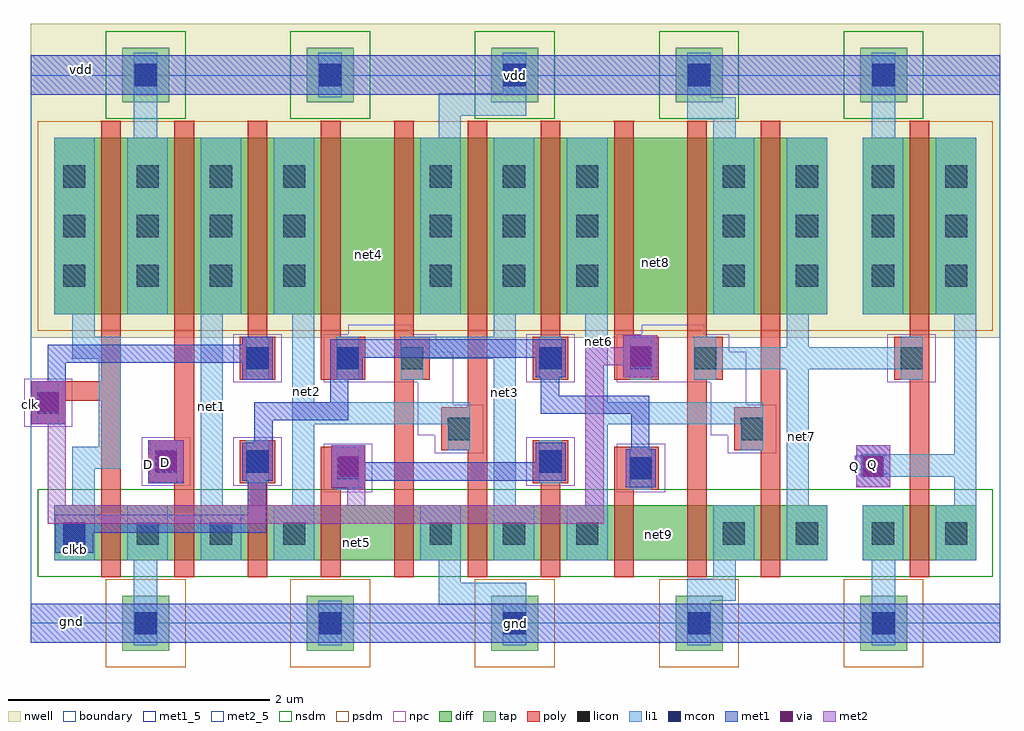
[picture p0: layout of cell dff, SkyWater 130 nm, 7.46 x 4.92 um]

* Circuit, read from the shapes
.subckt dff D Q clk clkb gnd net1 net2 net3 net4 net5 net6 net7 net8 net9 vdd
XM1 gnd clk clkb gnd sky130_fd_pr__nfet_01v8 w=0.42 l=0.15
XM2 net1 D gnd gnd sky130_fd_pr__nfet_01v8 w=0.42 l=0.15
XM3 net2 clkb net1 gnd sky130_fd_pr__nfet_01v8 w=0.42 l=0.15
XM4 net5 clk net2 gnd sky130_fd_pr__nfet_01v8 w=0.42 l=0.15
XM5 gnd net3 net5 gnd sky130_fd_pr__nfet_01v8 w=0.42 l=0.15
XM6 net3 net2 gnd gnd sky130_fd_pr__nfet_01v8 w=0.42 l=0.15
XM7 net6 clk net3 gnd sky130_fd_pr__nfet_01v8 w=0.42 l=0.15
XM8 net9 clkb net6 gnd sky130_fd_pr__nfet_01v8 w=0.42 l=0.15
XM9 gnd net7 net9 gnd sky130_fd_pr__nfet_01v8 w=0.42 l=0.15
XM10 net7 net6 gnd gnd sky130_fd_pr__nfet_01v8 w=0.42 l=0.15
XM11 Q net7 gnd gnd sky130_fd_pr__nfet_01v8 w=0.42 l=0.15
XM12 vdd clk clkb vdd sky130_fd_pr__pfet_01v8 w=1.35 l=0.15
XM13 net1 D vdd vdd sky130_fd_pr__pfet_01v8 w=1.35 l=0.15
XM14 net2 clk net1 vdd sky130_fd_pr__pfet_01v8 w=1.35 l=0.15
XM15 net4 clkb net2 vdd sky130_fd_pr__pfet_01v8 w=1.35 l=0.15
XM16 vdd net3 net4 vdd sky130_fd_pr__pfet_01v8 w=1.35 l=0.15
XM17 net3 net2 vdd vdd sky130_fd_pr__pfet_01v8 w=1.35 l=0.15
XM18 net6 clkb net3 vdd sky130_fd_pr__pfet_01v8 w=1.35 l=0.15
XM19 net8 clk net6 vdd sky130_fd_pr__pfet_01v8 w=1.35 l=0.15
XM20 vdd net7 net8 vdd sky130_fd_pr__pfet_01v8 w=1.35 l=0.15
XM21 net7 net6 vdd vdd sky130_fd_pr__pfet_01v8 w=1.35 l=0.15
XM22 Q net7 vdd vdd sky130_fd_pr__pfet_01v8 w=1.35 l=0.15
.ends

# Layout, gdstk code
import gdstk
lib = gdstk.Library(unit=1e-6, precision=1e-09)
def R(c, l, rs):  # rectangles x0, y0, x1, y1
    for r in rs: c.add(gdstk.rectangle(r[:2], r[2:], *l))
def A(c, l, x, y, w, h, nx, ny, dx, dy):  # array of equal rectangles
    R(c, l, [(x+i*dx, y+j*dy, x+i*dx+w, y+j*dy+h) for i in range(nx) for j in range(ny)])
nwell = (64, 20)
diff = (65, 20)
tap = (65, 44)
poly = (66, 20)
licon = (66, 44)
li1 = (67, 20)
mcon = (67, 44)
met1_5 = (68, 5)
met1 = (68, 20)
via = (68, 44)
met2_5 = (69, 5)
met2 = (69, 20)
nsdm = (93, 44)
psdm = (94, 20)
npc = (95, 20)
boundary = (235, 4)

dff = lib.new_cell('dff')
R(dff, nwell, [(0,2.18,7.41,4.58)])
R(dff, diff, [(0.18,0.48,6.09,0.9), (6.36,0.48,7.23,0.9), (0.18,2.36,6.09,3.71), (6.36,2.36,7.23,3.71)])
A(dff, tap, 0.7, -0.21, 0.36, 0.42, 5, 2, 1.41, 4.19)
A(dff, poly, 1.66, 2.19, 0.15, 1.65, 3, 1, 0.56, 0)
A(dff, poly, 3.9, 2.19, 0.15, 1.65, 3, 1, 0.56, 0)
R(dff, poly, [(0.54,0.35,0.69,1.7), (1.1,0.35,1.25,1.07), (1.66,0.35,1.81,1.07), (2.22,0.35,2.37,1.02), (2.78,0.35,2.93,1.86), (3.34,0.35,3.49,1.32), (3.9,0.35,4.05,1.07), (4.46,0.35,4.61,1.02), (5.02,0.35,5.17,1.86), (5.58,0.35,5.73,1.32), (6.72,0.35,6.87,1.86), (2.22,1.02,2.56,1.35), (4.46,1.02,4.8,1.35), (0.9,1.07,1.25,1.4), (1.6,1.07,1.87,1.4), (3.84,1.07,4.11,1.4), (3.14,1.32,3.49,1.65), (5.38,1.32,5.73,1.65), (1.1,1.4,1.25,3.84), (0,1.52,0.27,1.7), (3.34,1.65,3.49,3.84), (5.58,1.65,5.73,3.84), (0,1.7,0.69,1.85), (0.54,1.85,0.69,3.84), (1.6,1.86,1.87,2.19), (2.22,1.86,2.56,2.19), (2.78,1.86,3.05,2.19), (3.84,1.86,4.11,2.19), (4.46,1.86,4.8,2.19), (5.02,1.86,5.29,2.19), (6.6,1.86,6.87,2.19), (6.72,2.19,6.87,3.84)])
A(dff, licon, 0.795, -0.085, 0.17, 0.17, 5, 2, 1.41, 4.19)
A(dff, licon, 0.25, 0.6, 0.17, 0.17, 4, 2, 0.56, 1.97)
A(dff, licon, 3.05, 0.6, 0.17, 0.17, 3, 2, 0.56, 1.97)
A(dff, licon, 5.29, 2.57, 0.17, 0.17, 1, 3, 0, 0.38)
A(dff, licon, 5.85, 2.57, 0.17, 0.17, 1, 3, 0, 0.38)
A(dff, licon, 6.43, 2.57, 0.17, 0.17, 1, 3, 0, 0.38)
A(dff, licon, 6.99, 2.57, 0.17, 0.17, 1, 3, 0, 0.38)
A(dff, licon, 0.25, 2.95, 0.17, 0.17, 4, 2, 0.56, 0.38)
A(dff, licon, 3.05, 2.95, 0.17, 0.17, 3, 2, 0.56, 0.38)
R(dff, licon, [(5.29,0.6,5.46,0.77), (5.85,0.6,6.02,0.77), (6.43,0.6,6.6,0.77), (6.99,0.6,7.16,0.77), (2.34,1.1,2.51,1.27), (4.58,1.1,4.75,1.27), (0.95,1.15,1.12,1.32), (1.65,1.15,1.82,1.32), (3.89,1.15,4.06,1.32), (3.19,1.4,3.36,1.57), (5.43,1.4,5.6,1.57), (0.05,1.6,0.22,1.77), (1.65,1.94,1.82,2.11), (2.34,1.94,2.51,2.11), (2.83,1.94,3,2.11), (3.89,1.94,4.06,2.11), (4.58,1.94,4.75,2.11), (5.07,1.94,5.24,2.11), (6.65,1.94,6.82,2.11)])
A(dff, li1, 0.18, 0.48, 0.31, 0.42, 4, 1, 0.56, 0)
A(dff, li1, 2.98, 0.48, 0.31, 0.42, 3, 1, 0.56, 0)
A(dff, li1, 0.18, 2.36, 0.31, 1.35, 4, 1, 0.56, 0)
A(dff, li1, 2.98, 2.36, 0.31, 1.35, 3, 1, 0.56, 0)
R(dff, li1, [(0.79,-0.17,0.97,0.48), (2.2,-0.17,2.38,0.17), (3.61,-0.17,3.79,0.14), (5.02,-0.17,5.2,0.17), (6.43,-0.17,6.61,0.48), (3.12,0.14,3.79,0.31), (5.02,0.17,5.39,0.34), (3.12,0.31,3.29,0.48), (5.22,0.34,5.39,0.48), (5.22,0.48,5.53,0.9), (5.78,0.48,6.09,0.9), (6.36,0.48,6.67,0.9), (6.92,0.48,7.23,0.9), (0.32,0.9,0.49,1.18), (1.3,0.9,1.47,2.36), (2,0.9,2.17,1.52), (3.54,0.9,3.71,2.02), (4.24,0.9,4.41,1.52), (5.78,0.9,5.95,1.94), (7.06,0.9,7.23,1.12), (2.34,1.02,2.51,1.35), (4.58,1.02,4.75,1.35), (0.95,1.07,1.12,1.4), (1.65,1.07,1.82,1.4), (3.89,1.07,4.06,1.4), (6.35,1.12,7.23,1.29), (0.32,1.18,0.69,1.35), (7.06,1.29,7.23,2.36), (3.19,1.32,3.36,1.52), (5.43,1.32,5.6,1.52), (0.52,1.35,0.69,2.02), (0.05,1.52,0.22,1.85), (2,1.52,3.36,1.69), (4.24,1.52,5.6,1.69), (2,1.69,2.17,2.36), (4.24,1.69,4.41,2.36), (1.65,1.86,1.82,2.19), (2.34,1.86,2.51,2.19), (2.83,1.86,3,2.02), (3.89,1.86,4.06,2.19), (4.58,1.86,4.75,2.19), (5.07,1.86,5.24,1.94), (6.65,1.86,6.82,1.94), (5.07,1.94,6.82,2.11), (0.32,2.02,0.69,2.19), (2.83,2.02,3.71,2.19), (5.07,2.11,5.24,2.19), (5.78,2.11,5.95,2.36), (6.65,2.11,6.82,2.19), (0.32,2.19,0.49,2.36), (3.54,2.19,3.71,2.36), (5.22,2.36,5.53,3.71), (5.78,2.36,6.09,3.71), (6.36,2.36,6.67,3.71), (6.92,2.36,7.23,3.71), (0.79,3.71,0.97,4.36), (3.12,3.71,3.29,3.88), (5.22,3.71,5.39,3.85), (6.43,3.71,6.61,4.36), (5.02,3.85,5.39,4.02), (3.12,3.88,3.79,4.05), (2.2,4.02,2.38,4.36), (5.02,4.02,5.2,4.36), (3.61,4.05,3.79,4.36)])
A(dff, mcon, 0.795, -0.085, 0.17, 0.17, 5, 2, 1.41, 4.19)
R(dff, mcon, [(0.25,0.6,0.42,0.77), (2.34,1.1,2.51,1.27), (4.58,1.1,4.75,1.27), (6.35,1.12,6.52,1.29), (0.95,1.15,1.12,1.32), (1.65,1.15,1.82,1.32), (3.89,1.15,4.06,1.32), (0.05,1.6,0.22,1.77), (1.65,1.94,1.82,2.11), (2.34,1.94,2.51,2.11), (3.89,1.94,4.06,2.11), (4.58,1.94,4.75,2.11)])
R(dff, met1_5, [(0,-0.15,7.41,0.15), (0,4.04,7.41,4.34)])
R(dff, met1, [(0,-0.15,7.41,0.15), (0,-0.15,7.41,0.15), (0.19,0.54,0.48,0.69), (0.19,0.69,1.8,0.83), (1.66,0.83,1.8,1.09), (2.3,1.03,2.56,1.09), (4.55,1.04,4.78,1.33), (6.31,1.04,6.57,1.36), (0.9,1.07,1.17,1.4), (1.62,1.09,1.85,1.38), (2.3,1.09,4.09,1.23), (2.3,1.23,2.56,1.36), (3.86,1.23,4.09,1.38), (4.59,1.33,4.73,1.6), (1.71,1.38,1.85,1.55), (0,1.52,0.27,1.85), (1.71,1.55,2.43,1.69), (3.9,1.6,4.73,1.74), (2.29,1.69,2.43,1.86), (3.9,1.74,4.04,1.88), (0.13,1.85,0.27,1.99), (1.62,1.86,1.85,1.99), (2.29,1.86,2.54,2.03), (3.86,1.88,4.09,2.03), (4.53,1.88,4.79,2.2), (0.13,1.99,1.85,2.13), (2.29,2.03,4.09,2.17), (1.62,2.13,1.85,2.19), (0,4.04,7.41,4.34), (0,4.04,7.41,4.34)])
R(dff, via, [(2.355,1.125,2.505,1.275), (6.365,1.125,6.515,1.275), (0.965,1.165,1.115,1.315), (0.065,1.615,0.215,1.765), (4.585,1.965,4.735,2.115)])
R(dff, met2_5, [(6.3,1.14,6.57,1.28), (0.9,1.16,1.17,1.3), (0,1.61,0.27,1.75)])
R(dff, met2, [(0.13,0.76,4.38,0.9), (0.13,0.9,0.27,1.52), (2.42,0.9,2.56,1.04), (4.24,0.9,4.38,1.97), (2.3,1.04,2.56,1.36), (6.31,1.04,6.57,1.14), (0.91,1.08,1.17,1.16), (6.3,1.14,6.57,1.28), (6.3,1.14,6.57,1.28), (0.9,1.16,1.17,1.3), (0.9,1.16,1.17,1.3), (6.31,1.28,6.57,1.36), (0.91,1.3,1.17,1.4), (0.01,1.52,0.27,1.61), (0,1.61,0.27,1.75), (0,1.61,0.27,1.75), (0.01,1.75,0.27,1.85), (4.53,1.88,4.79,1.97), (4.24,1.97,4.79,2.11), (4.53,2.11,4.79,2.2)])
A(dff, nsdm, 0.575, 3.855, 0.61, 0.67, 5, 1, 1.41, 0)
R(dff, nsdm, [(0.055,0.355,7.355,1.025)])
A(dff, psdm, 0.575, -0.335, 0.61, 0.67, 5, 1, 1.41, 0)
R(dff, psdm, [(0.055,2.235,7.355,3.835)])
R(dff, npc, [(2.24,1,2.61,1.37), (4.48,1,4.85,1.37), (0.85,1.05,1.22,1.42), (1.55,1.05,1.92,1.42), (3.79,1.05,4.16,1.42), (3.09,1.3,3.46,1.435), (5.33,1.3,5.7,1.435), (2.96,1.435,3.46,1.67), (5.2,1.435,5.7,1.67), (-0.05,1.5,0.32,1.87), (2.96,1.67,3.23,1.84), (5.2,1.67,5.47,1.84), (1.55,1.84,1.92,2.21), (2.24,1.84,3.23,2.075), (3.79,1.84,4.16,2.21), (4.48,1.84,5.47,2.075), (6.55,1.84,6.92,2.21), (2.24,2.075,3.1,2.21), (4.48,2.075,5.34,2.21), (2.43,2.21,2.91,2.28), (4.67,2.21,5.15,2.28)])
R(dff, boundary, [(0,0,7.41,4.19)])
dff.add(gdstk.Label('clkb', (0.34,0.56), layer=68, texttype=16))
dff.add(gdstk.Label('net1', (1.38,1.66), layer=67, texttype=16))
dff.add(gdstk.Label('net2', (2.11,1.77), layer=67, texttype=16))
dff.add(gdstk.Label('net4', (2.58,2.82), layer=65, texttype=20))
dff.add(gdstk.Label('net5', (2.49,0.62), layer=65, texttype=20))
dff.add(gdstk.Label('net3', (3.62,1.76), layer=67, texttype=16))
dff.add(gdstk.Label('net6', (4.34,2.15), layer=67, texttype=16))
dff.add(gdstk.Label('net7', (5.89,1.43), layer=67, texttype=16))
dff.add(gdstk.Label('net8', (4.78,2.76), layer=65, texttype=20))
dff.add(gdstk.Label('net9', (4.8,0.68), layer=65, texttype=20))
dff.add(gdstk.Label('clk', (0,1.67), layer=69, texttype=5))
dff.add(gdstk.Label('vdd', (0.39,4.23), layer=68, texttype=5))
dff.add(gdstk.Label('gnd', (0.31,0.01), layer=68, texttype=5))
dff.add(gdstk.Label('D', (0.9,1.21), layer=69, texttype=5))
dff.add(gdstk.Label('Q', (6.3,1.2), layer=69, texttype=5))
dff.add(gdstk.Label('D', (1.035,1.23), layer=69, texttype=20))
dff.add(gdstk.Label('Q', (6.435,1.21), layer=69, texttype=20))
dff.add(gdstk.Label('clk', (0.135,1.68), layer=69, texttype=20))
dff.add(gdstk.Label('vdd', (3.705,4.19), layer=68, texttype=20))
dff.add(gdstk.Label('gnd', (3.705,0), layer=68, texttype=20))

lib.write_gds('dff.gds')
